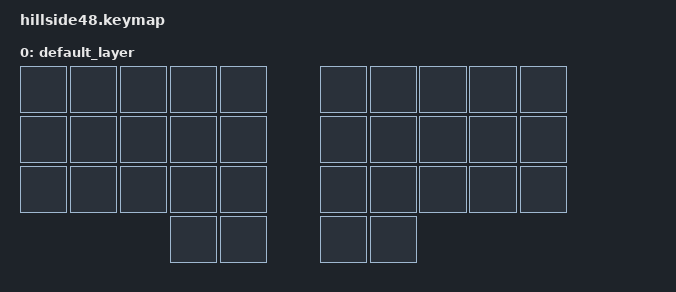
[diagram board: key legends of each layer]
/*
 * Copyright (c) 2022 The ZMK Contributors
 *
 * SPDX-License-Identifier: MIT
 */

#include <behaviors.dtsi>
#include <dt-bindings/zmk/bt.h>
#include <dt-bindings/zmk/ext_power.h>
#include <dt-bindings/zmk/keys.h>
#include <dt-bindings/zmk/outputs.h>
// CONFIG
#define COMBO_TIMEOUT 70
#define COMBO_LAYERS 0
#define STICKY_TIMEOUT 500

// LEFT SIDE
#define TLI 16 // TOP
#define TLM 15 // TOP
#define TLR 14 // TOP
#define TLP 13 // TOP
#define BLI 28 // BOTTOM
#define BLM 27 // BOTTOM
#define BLR 26 // BOTTOM
#define BLP 25 // BOTTOM
#define LOT 41 // O-THUMB
#define LIT 40 // I-THUMB

// RIGHT SIDE
#define TRI 19 // TOP
#define TRM 20 // TOP
#define TRR 21 // TOP
#define TRP 22 // TOP
#define BRI 33 // BOTTOM
#define BRM 34 // BOTTOM
#define BRR 35 // BOTTOM
#define BRP 36 // BOTTOM
#define ROT 44 // O-THUMB
#define RIT 45 // I-THUMB

&sk {
    release-after-ms = <STICKY_TIMEOUT>;
    quick-release;
};

/ {
  combos {
    compatible = "zmk,combos";
    #include "taipo.dtsi"
  };

  keymap {
    compatible = "zmk,keymap";

    default_layer {
      bindings = <
        &none           &none            &none             &none            &none                 &none            &none            &none            &none            &none
        &none           &none            &none             &none            &none                 &none            &none            &none            &none            &none
        &none           &none            &none             &none            &none                 &none            &none            &none            &none            &none
                                                           &none            &none                 &none            &none
      >;
    };
  };
};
